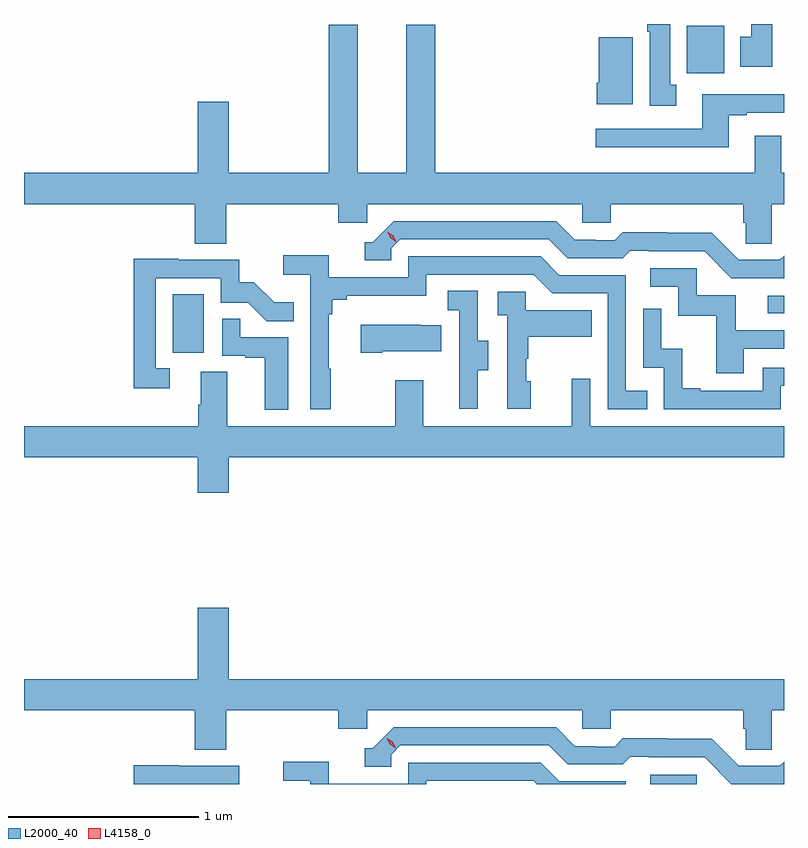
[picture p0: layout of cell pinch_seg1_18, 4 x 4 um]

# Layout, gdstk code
import gdstk
lib = gdstk.Library(unit=1e-6, precision=1e-09)
def R(c, l, rs):  # rectangles x0, y0, x1, y1
    for r in rs: c.add(gdstk.rectangle(r[:2], r[2:], *l))
def P(c, l, *ps):  # polygons
    for p in ps: c.add(gdstk.Polygon(p, *l))
L2000_40 = (2000, 40)
L4158_0 = (4158, 0)

pinch_seg1_18 = lib.new_cell('pinch_seg1_18')
R(pinch_seg1_18, L2000_40, [(1144.413,575.32,1144.656,575.37), (1141.898,577.59,1142.062,577.897), (1145.031,577.797,1145.116,577.89), (1144.605,579.06,1144.801,579.31)])
P(pinch_seg1_18, L2000_40, [(1145.053,579.32),(1144.943,579.32),(1144.943,579.252),(1144.886,579.252),(1144.886,579.096),(1145.053,579.096)],
  [(1144.549,579.001),(1144.516,579.001),(1144.516,579.32),(1144.396,579.32),(1144.396,579.278),(1144.409,579.278),(1144.409,578.889),(1144.549,578.889)],
  [(1142.18,578.372),(1142.771,578.372),(1142.771,578.274),(1142.922,578.274),(1142.922,578.372),(1144.053,578.372),(1144.053,578.274),(1144.203,578.274),(1144.203,578.372),(1144.901,578.372),(1144.901,578.274),(1144.915,578.274),(1144.915,578.164),(1145.052,578.164),(1145.052,578.372),(1145.116,578.372),(1145.116,578.536),(1145.101,578.536),(1145.101,578.731),(1144.961,578.731),(1144.961,578.536),(1143.281,578.536),(1143.281,579.315),(1143.128,579.315),(1143.128,578.536),(1142.872,578.536),(1142.872,579.315),(1142.72,579.315),(1142.72,578.536),(1142.194,578.536),(1142.194,578.911),(1142.03,578.911),(1142.03,578.536),(1141.116,578.536),(1141.116,578.372),(1142.015,578.372),(1142.015,578.164),(1142.18,578.164)],
  [(1144.321,579.25),(1144.142,579.25),(1144.142,579.01),(1144.13,579.01),(1144.13,578.898),(1144.321,578.898)],
  [(1144.825,578.841),(1144.921,578.841),(1144.921,578.853),(1145.116,578.853),(1145.116,578.95),(1144.685,578.95),(1144.685,578.769),(1144.125,578.769),(1144.125,578.672),(1144.825,578.672)],
  [(1145.116,578.101),(1145.094,578.079),(1144.878,578.079),(1144.736,578.221),(1144.5,578.221),(1144.5,578.224),(1144.267,578.224),(1144.225,578.181),(1144.122,578.181),(1144.122,578.184),(1144.015,578.184),(1143.916,578.283),(1143.063,578.283),(1142.952,578.172),(1142.909,578.172),(1142.909,578.076),(1143.048,578.076),(1143.048,578.139),(1143.096,578.187),(1143.879,578.187),(1143.978,578.088),(1144.267,578.088),(1144.306,578.127),(1144.405,578.127),(1144.405,578.124),(1144.698,578.124),(1144.839,577.983),(1145.116,577.983)],
  [(1142.731,577.505),(1142.719,577.505),(1142.719,577.793),(1142.738,577.793),(1142.738,577.87),(1142.815,577.87),(1142.815,577.889),(1143.234,577.889),(1143.234,578.001),(1143.798,578.001),(1143.897,577.902),(1144.188,577.902),(1144.188,577.293),(1144.397,577.293),(1144.397,577.389),(1144.284,577.389),(1144.284,577.998),(1143.934,577.998),(1143.835,578.097),(1143.138,578.097),(1143.138,577.986),(1142.72,577.986),(1142.72,578.102),(1142.481,578.102),(1142.481,578),(1142.622,578),(1142.622,577.293),(1142.731,577.293)],
  [(1141.882,577.509),(1141.809,577.509),(1141.809,577.983),(1142.151,577.983),(1142.151,577.854),(1142.296,577.854),(1142.394,577.756),(1142.537,577.756),(1142.537,577.855),(1142.433,577.855),(1142.326,577.962),(1142.25,577.962),(1142.25,578.079),(1141.931,578.079),(1141.931,578.084),(1141.693,578.084),(1141.693,577.404),(1141.882,577.404)],
  [(1144.903,577.611),(1145.116,577.611),(1145.116,577.707),(1144.861,577.707),(1144.861,577.893),(1144.656,577.893),(1144.656,578.034),(1144.413,578.034),(1144.413,577.938),(1144.56,577.938),(1144.56,577.785),(1144.759,577.785),(1144.759,577.482),(1144.903,577.482)],
  [(1143.505,577.498),(1143.559,577.498),(1143.559,577.653),(1143.504,577.653),(1143.504,577.916),(1143.345,577.916),(1143.345,577.813),(1143.408,577.813),(1143.408,577.509),(1143.407,577.509),(1143.407,577.296),(1143.505,577.296)],
  [(1143.784,577.44),(1143.759,577.44),(1143.759,577.559),(1143.769,577.559),(1143.769,577.673),(1144.103,577.673),(1144.103,577.813),(1143.756,577.813),(1143.756,577.911),(1143.609,577.911),(1143.609,577.787),(1143.66,577.787),(1143.66,577.296),(1143.784,577.296)],
  [(1145.1,577.416),(1145.116,577.416),(1145.116,577.512),(1145.004,577.512),(1145.004,577.389),(1144.675,577.389),(1144.675,577.402),(1144.58,577.402),(1144.58,577.61),(1144.47,577.61),(1144.47,577.822),(1144.374,577.822),(1144.374,577.512),(1144.482,577.512),(1144.482,577.293),(1145.1,577.293)],
  [(1142.506,577.671),(1142.255,577.671),(1142.255,577.769),(1142.16,577.769),(1142.16,577.575),(1142.281,577.575),(1142.281,577.563),(1142.384,577.563),(1142.384,577.289),(1142.506,577.289)],
  [(1143.001,577.598),(1143.311,577.598),(1143.311,577.735),(1143.203,577.735),(1143.203,577.738),(1142.889,577.738),(1142.889,577.591),(1143.001,577.591)],
  [(1142.194,577.04),(1145.116,577.04),(1145.116,577.204),(1144.095,577.204),(1144.095,577.453),(1143.998,577.453),(1143.998,577.204),(1143.217,577.204),(1143.217,577.444),(1143.07,577.444),(1143.07,577.204),(1142.185,577.204),(1142.185,577.49),(1142.045,577.49),(1142.045,577.316),(1142.033,577.316),(1142.033,577.204),(1141.116,577.204),(1141.116,577.04),(1142.03,577.04),(1142.03,576.852),(1142.194,576.852)],
  [(1142.18,575.708),(1142.771,575.708),(1142.771,575.61),(1142.922,575.61),(1142.922,575.708),(1144.053,575.708),(1144.053,575.61),(1144.203,575.61),(1144.203,575.708),(1144.901,575.708),(1144.901,575.61),(1144.915,575.61),(1144.915,575.5),(1145.052,575.5),(1145.052,575.708),(1145.116,575.708),(1145.116,575.872),(1142.194,575.872),(1142.194,576.247),(1142.03,576.247),(1142.03,575.872),(1141.116,575.872),(1141.116,575.708),(1142.015,575.708),(1142.015,575.5),(1142.18,575.5)],
  [(1145.116,575.437),(1145.094,575.415),(1144.878,575.415),(1144.736,575.557),(1144.5,575.557),(1144.5,575.56),(1144.267,575.56),(1144.225,575.517),(1144.122,575.517),(1144.122,575.52),(1144.015,575.52),(1143.916,575.619),(1143.063,575.619),(1142.952,575.508),(1142.909,575.508),(1142.909,575.412),(1143.048,575.412),(1143.048,575.475),(1143.096,575.523),(1143.879,575.523),(1143.978,575.424),(1144.267,575.424),(1144.306,575.463),(1144.405,575.463),(1144.405,575.46),(1144.698,575.46),(1144.838,575.32),(1145.116,575.32)],
  [(1143.234,575.337),(1143.798,575.337),(1143.815,575.32),(1144.284,575.32),(1144.284,575.334),(1143.934,575.334),(1143.835,575.433),(1143.138,575.433),(1143.138,575.322),(1142.72,575.322),(1142.72,575.438),(1142.481,575.438),(1142.481,575.336),(1142.622,575.336),(1142.622,575.32),(1143.234,575.32)],
  [(1142.25,575.415),(1141.931,575.415),(1141.931,575.42),(1141.693,575.42),(1141.693,575.32),(1142.25,575.32)])
P(pinch_seg1_18, L4158_0, [(1143.073,578.174),(1143.043,578.194),(1143.027,578.226),(1143.027,578.227),(1143.027,578.227),(1143.058,578.207),(1143.074,578.175),(1143.074,578.174)],
  [(1143.072,575.509),(1143.041,575.529),(1143.026,575.562),(1143.026,575.562),(1143.026,575.562),(1143.057,575.542),(1143.072,575.509),(1143.072,575.509)])

lib.write_gds('pinch_seg1_18.gds')
